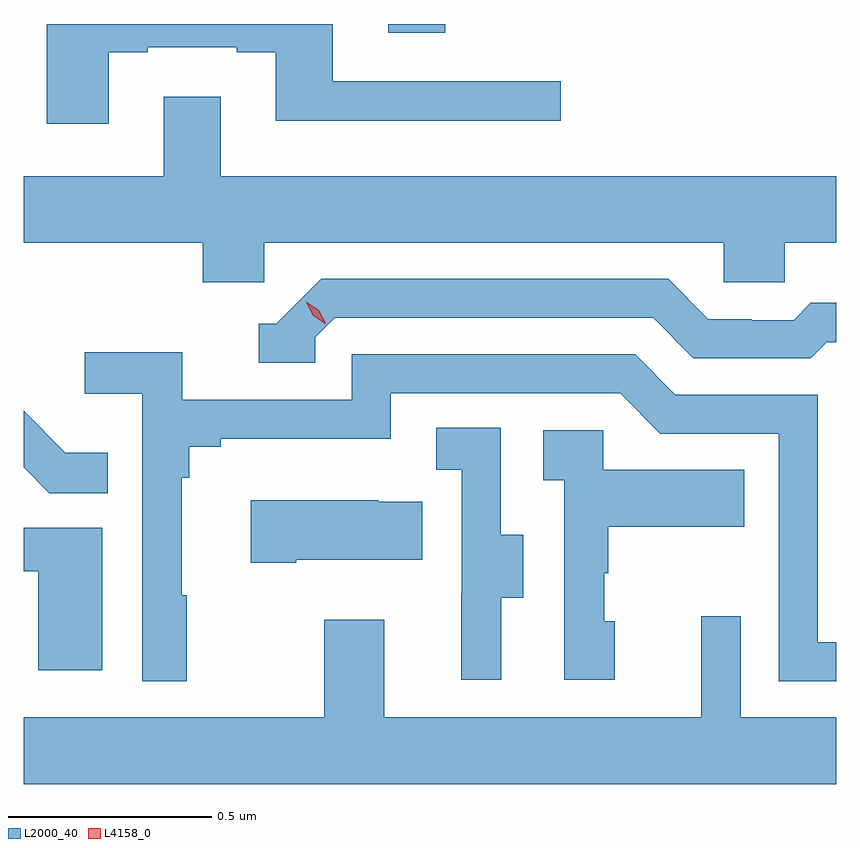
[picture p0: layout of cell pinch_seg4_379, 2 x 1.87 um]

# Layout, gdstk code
import gdstk
lib = gdstk.Library(unit=1e-6, precision=1e-09)
def R(c, l, rs):  # rectangles x0, y0, x1, y1
    for r in rs: c.add(gdstk.rectangle(r[:2], r[2:], *l))
def P(c, l, *ps):  # polygons
    for p in ps: c.add(gdstk.Polygon(p, *l))
L2000_40 = (2000, 40)
L4158_0 = (4158, 0)

pinch_seg4_379 = lib.new_cell('pinch_seg4_379')
R(pinch_seg4_379, L2000_40, [(946.535,770.697,946.675,770.718)])
P(pinch_seg4_379, L2000_40, [(945.847,770.649),(945.943,770.649),(945.943,770.661),(946.163,770.661),(946.163,770.649),(946.259,770.649),(946.259,770.48),(946.96,770.48),(946.96,770.577),(946.399,770.577),(946.399,770.718),(945.695,770.718),(945.695,770.472),(945.847,770.472)],
  [(946.23,770.18),(947.361,770.18),(947.361,770.082),(947.511,770.082),(947.511,770.18),(947.638,770.18),(947.638,770.344),(946.123,770.344),(946.123,770.539),(945.983,770.539),(945.983,770.344),(945.638,770.344),(945.638,770.18),(946.079,770.18),(946.079,770.082),(946.23,770.082)],
  [(946.356,769.947),(946.404,769.995),(947.187,769.995),(947.286,769.896),(947.575,769.896),(947.614,769.935),(947.638,769.935),(947.638,770.032),(947.575,770.032),(947.533,769.989),(947.43,769.989),(947.43,769.992),(947.323,769.992),(947.224,770.091),(946.371,770.091),(946.26,769.98),(946.217,769.98),(946.217,769.884),(946.356,769.884)],
  [(946.039,769.313),(946.027,769.313),(946.027,769.601),(946.046,769.601),(946.046,769.678),(946.123,769.678),(946.123,769.697),(946.542,769.697),(946.542,769.809),(947.106,769.809),(947.205,769.71),(947.496,769.71),(947.496,769.101),(947.638,769.101),(947.638,769.197),(947.592,769.197),(947.592,769.806),(947.242,769.806),(947.143,769.905),(946.446,769.905),(946.446,769.794),(946.028,769.794),(946.028,769.91),(945.789,769.91),(945.789,769.808),(945.93,769.808),(945.93,769.101),(946.039,769.101)],
  [(945.845,769.663),(945.741,769.663),(945.638,769.766),(945.638,769.627),(945.701,769.564),(945.845,769.564)],
  [(946.813,769.306),(946.867,769.306),(946.867,769.461),(946.812,769.461),(946.812,769.724),(946.653,769.724),(946.653,769.621),(946.716,769.621),(946.716,769.317),(946.715,769.317),(946.715,769.104),(946.813,769.104)],
  [(947.092,769.248),(947.067,769.248),(947.067,769.367),(947.077,769.367),(947.077,769.481),(947.411,769.481),(947.411,769.621),(947.064,769.621),(947.064,769.719),(946.917,769.719),(946.917,769.595),(946.968,769.595),(946.968,769.104),(947.092,769.104)],
  [(946.309,769.4),(946.619,769.4),(946.619,769.543),(946.511,769.543),(946.511,769.546),(946.197,769.546),(946.197,769.393),(946.309,769.393)],
  [(945.832,769.479),(945.638,769.479),(945.638,769.371),(945.674,769.371),(945.674,769.128),(945.832,769.128)],
  [(947.638,769.012),(947.403,769.012),(947.403,769.261),(947.306,769.261),(947.306,769.012),(946.525,769.012),(946.525,769.252),(946.378,769.252),(946.378,769.012),(945.638,769.012),(945.638,768.848),(947.638,768.848)])
P(pinch_seg4_379, L4158_0, [(946.38,769.981),(946.349,770.001),(946.333,770.033),(946.333,770.034),(946.334,770.034),(946.364,770.014),(946.381,769.982),(946.381,769.981)])

lib.write_gds('pinch_seg4_379.gds')
